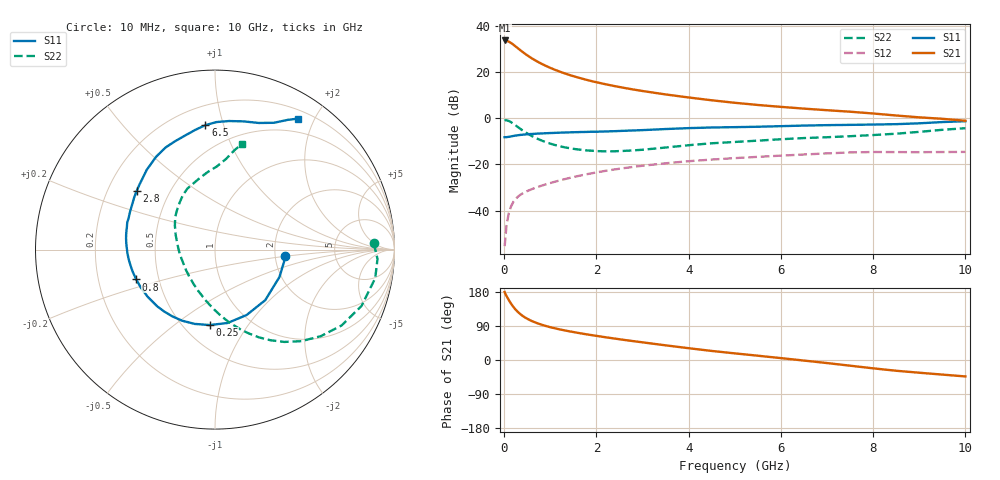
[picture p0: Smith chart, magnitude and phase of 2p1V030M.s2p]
! (c) 2009  Infineon Technologies AG, Munich
! Infineon Technologies  Discrete & RF Semiconductors
! BFP420
! VCE =  1.0 V,  IC =  30 mA
! Common Emitter S-Parameters:  Nov 2009
# GHz  S  MA  R  50
!  f  S11  S21  S12  S22
! GHz  MAG  ANG  MAG  ANG  MAG  ANG  MAG  ANG
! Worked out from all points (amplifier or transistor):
!   46 points, 10 MHz to 10 GHz, reference 50 ohm
!   highest |S21| = 33.7 dB at 10 MHz (marker M1)
!   |S21| within 3 dB of that: start of sweep to 273.8 MHz
!   unconditionally stable (mu >= 1): start of sweep to 12.91 MHz; 1.405 GHz to end of sweep
!   at 300 MHz: K = 0.43, MSG = 32.1 dB, |S12| = -33.9 dB
!   at 1.7 GHz: K = 1.05, MAG = 19.4 dB, |S12| = -24.6 dB
!   at 10 GHz: K = 1.05, MAG = 5.3 dB, |S12| = -14.6 dB
!   lowest NFmin = 1.51 dB at 900 MHz
!   S11 on the Smith chart (normalised r, x): 10 MHz: 2.26, -0.18; 250 MHz: 0.67, -0.68; 800 MHz: 0.37, -0.16; 2.8 GHz: 0.32, +0.30; 6.5 GHz: 0.32, +0.87; 10 GHz: 0.31, +1.78
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0.01  0.3902 -4.9  48.51 179.5  0.0017 92.0  0.8858 2.2
0.02  0.3906 -10.1  47.84 176.0  0.0021 89.9  0.9069 -3.3
0.05  0.3902 -23.1  47.49 169.2  0.0047 83.7  0.9067 -10.1
0.1  0.3972 -45.2  45.78 158.4  0.0088 76.4  0.8748 -21.0
0.15  0.4048 -64.2  42.73 148.5  0.0124 70.9  0.8224 -30.9
0.2  0.4148 -80.2  39.37 140.1  0.0155 66.3  0.7616 -39.3
0.25  0.4214 -94.0  35.85 132.7  0.018 62.7  0.701 -46.7
0.3  0.4292 -105.3  32.74 126.5  0.0201 60.1  0.6433 -53.1
0.35  0.4364 -114.7  29.89 121.2  0.022 58.2  0.5915 -58.6
0.45  0.4463 -129.5  25.12 112.5  0.0251 55.8  0.5057 -67.8
0.6  0.4581 -145.1  19.91 102.8  0.0292 54.4  0.4129 -79.0
0.8  0.469 -159.2  15.34 93.6  0.0344 54.2  0.3333 -90.9
1  0.4791 -169.4  12.37 86.6  0.0396 54.2  0.2826 -101.7
1.2  0.4882 -177.4  10.29 80.9  0.045 54.1  0.2492 -111.8
1.7  0.505 167.6  7.179 69.5  0.0589 52.4  0.2061 -135.1
2.8  0.5449 143.2  4.205 49.8  0.0887 44.1  0.2019 -179.1
3.5  0.5852 130.5  3.286 38.7  0.106 37.4  0.2328 160.0
5.5  0.6561 105.0  1.944 11.3  0.1462 18.5  0.328 126.9
6.5  0.6955 94.4  1.619 -1.5  0.1644 8.9  0.3732 114.3
7  0.7107 89.3  1.497 -8.1  0.1737 3.8  0.3889 107.7
8.5  0.7466 70.9  1.149 -28.4  0.1854 -13.5  0.4636 88.7
10  0.8656 57.5  0.884 -43.4  0.187 -24.5  0.61 75.5
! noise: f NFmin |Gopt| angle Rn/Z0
0.9  1.51  0.26  -155  0.13
1.8  1.78  0.33  -142  0.14
2.4  1.96  0.3  -136  0.18
3  1.98  0.38  -127  0.2
4  2.11  0.47  -111  0.31
5  2.57  0.53  -94  0.51
6  3  0.57  -82  0.74
